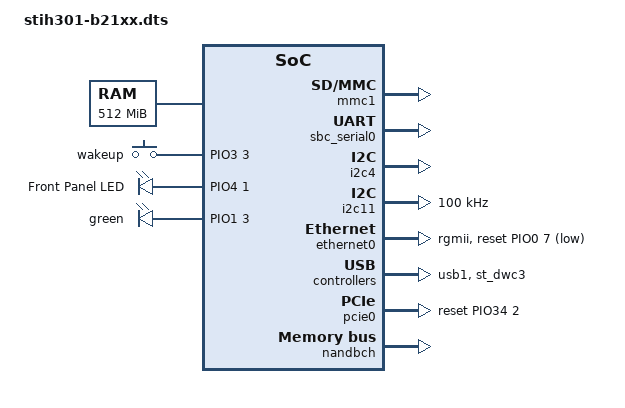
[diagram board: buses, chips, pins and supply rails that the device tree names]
/*
 * Copyright (C) 2014 STMicroelectronics (R&D) Limited.
 * Author: Amelie Herault <amelie.herault@st.com>
 *
 * This program is free software; you can redistribute it and/or modify
 * it under the terms of the GNU General Public License version 2 as
 * published by the Free Software Foundation.
 */
/dts-v1/;
#include "stih301.dtsi"
/ {
	chosen {
		bootargs = "console=ttyAS0,115200";
		linux,stdout-path = &sbc_serial0;
	};

	aliases {
		ttyAS0 = &sbc_serial0;
		ethernet0 = &ethernet0;
		miphy0 = &miphy28lp_phy0;
		miphy1 = &miphy28lp_phy1;
		miphy2 = &miphy28lp_phy2;
		usb1 = &usb1;
	};

	memory {
		device_type = "memory";
		/*
		 * 2 x 16 bits x 512MB: reg = <0x40000000 0x40000000>;
		 * 1 x 16 bits x 512MB: reg = <0x40000000 0x20000000>;
		 */
		reg = <0x40000000 0x20000000>;
	};

	soc {
		mmc1: sdhci@09080000 {
			status = "okay";
		};

		lpm:stm-lpm@9400000 {
			status = "okay";
			gpios = <&PIO3 2 0>;
			st,lmi-ret-gpio = <&PIO5 2 0>;
                };

		gpio_keys {
			compatible = "gpio-keys";
			#address-cells = <1>;
			#size-cells = <0>;
			button@1 {
				label = "wakeup";
				linux,code = <41>;
				gpios = <&PIO3 3 0>;
				gpio-key,wakeup;
			};
		};

		sbc_serial0: serial@9530000 {
			status = "okay";
		};

		leds {
			compatible = "gpio-leds";
			red {
				#gpio-cells = <2>;
				label = "Front Panel LED";
				gpios = <&PIO4 1 0>;
				linux,default-trigger = "heartbeat";
			};
			green {
				#gpio-cells = <2>;
				gpios = <&PIO1 3 0>;
				default-state = "off";
			};
		};

		/* SSC4 to PCIe connector */
		i2c4: i2c@9844000 {
			status = "okay";
		};

		/* SSC11 to HDMI */
		i2c11: i2c@9541000 {
			status = "okay";
			/* HDMI V1.3a supports Standard mode only */
			clock-frequency = <100000>;
			st,i2c-min-scl-pulse-width-us = <0>;
			st,i2c-min-sda-pulse-width-us = <5>;
		};

		ethernet0: dwmac@9630000 {
			st,tx-retime-src = "clkgen";
			status = "okay";
			phy-mode = "rgmii";
			pinctrl-0 = <&pinctrl_rgmii1 &pinctrl_rgmii1_mdio>;

			snps,phy-bus-name = "stmmac";
			snps,phy-bus-id = <0>;
			snps,phy-addr = <0x04>;
			snps,reset-gpio = <&PIO0 7 0>;
			snps,reset-active-low;
			snps,reset-delays-us = <0 10000 1000000>;

			st,eee-force-disable;
		};

		usb1: usb@9A80000 {
			status = "okay";
		};

		st_dwc3: dwc3@8f94000 {
			status = "okay";
		};

		/* select internal clock for miphy0 (sata) */
		miphy28lp_phy0: miphy28lp@0 {
			/* select internal clock for miphy0 (sata) */
			st,sata_gen = "gen3";
			status = "okay";
		};

		pcie0: pcie@9b00000{
			status = "okay";
			reset-gpio = <&PIO34 2 0>;
		};

		/*
		 * B2173 has a MALI-400 MP2 (dual core) instead of
		 * MALI-400 MP4 (quad core)
		 */
		mali: mali@09f00000 {
			compatible = "st,mali";
			reg = <0x09f01000 0x200>,
			      <0x09f00000 0x100>, <0x09f03000 0x100>,
			      <0x09f08000 0x1100>, <0x09f04000 0x100>,
			      <0x09f0a000 0x1100>, <0x09f05000 0x100>;
			reg-names = "Mali_L2",
				    "Mali_GP", "Mali_GP_MMU",
				    "Mali_PP0", "Mali_PP0_MMU",
				    "Mali_PP1", "Mali_PP1_MMU";

			interrupts = <GIC_SPI 49 IRQ_TYPE_NONE>,
				     <GIC_SPI 50 IRQ_TYPE_NONE>,
				     <GIC_SPI 41 IRQ_TYPE_NONE>,
				     <GIC_SPI 45 IRQ_TYPE_NONE>,
				     <GIC_SPI 42 IRQ_TYPE_NONE>,
				     <GIC_SPI 46 IRQ_TYPE_NONE>;
			interrupt-names = "Mali_GP_IRQ",
					  "Mali_GP_MMU_IRQ",
					  "Mali_PP0_IRQ",
					  "Mali_PP0_MMU_IRQ",
					  "Mali_PP1_IRQ",
					  "Mali_PP1_MMU_IRQ";
		};

		/*
		 * disable this fdma as there is no TS MUX on B2173
		 */
		fdma2_mpe: fdma-mpe@2 {
			status = "disabled";
		};

		nandbch: nand-bch {
			st,bch-ecc-mode = "18bit";
			st,bch-bitflip-threshold = <0x12>;
			status = "okay";
			st,nand-banks = <&nand_banks>;
		};

		nand_banks: nand-banks {
			bank0 {
				/* NAND_BBT_USE_FLASH (4Gbit) */
				nand-on-flash-bbt;
				nand-no-autoincr;
				st,nand-cs = <0>;
				st,nand-timing-data = <&nand_timing0>;
				partitions {
					#address-cells = <1>;
					#size-cells = <1>;
					partition@0{
						label = "NAND Flash 1";
						reg = <0x00000000 0x1e000000>;
					};
				};
			};
		};

		nand_timing0: nand-timing {
			sig-setup = <10>;
			sig-hold = <10>;
			CE-deassert = <0>;
			WE-to-RBn = <100>;
			wr-on = <10>;
			wr-off = <30>;
			rd-on = <10>;
			rd-off = <30>;
			chip-delay = <30>; /* delay in us */
		};
	};
};
